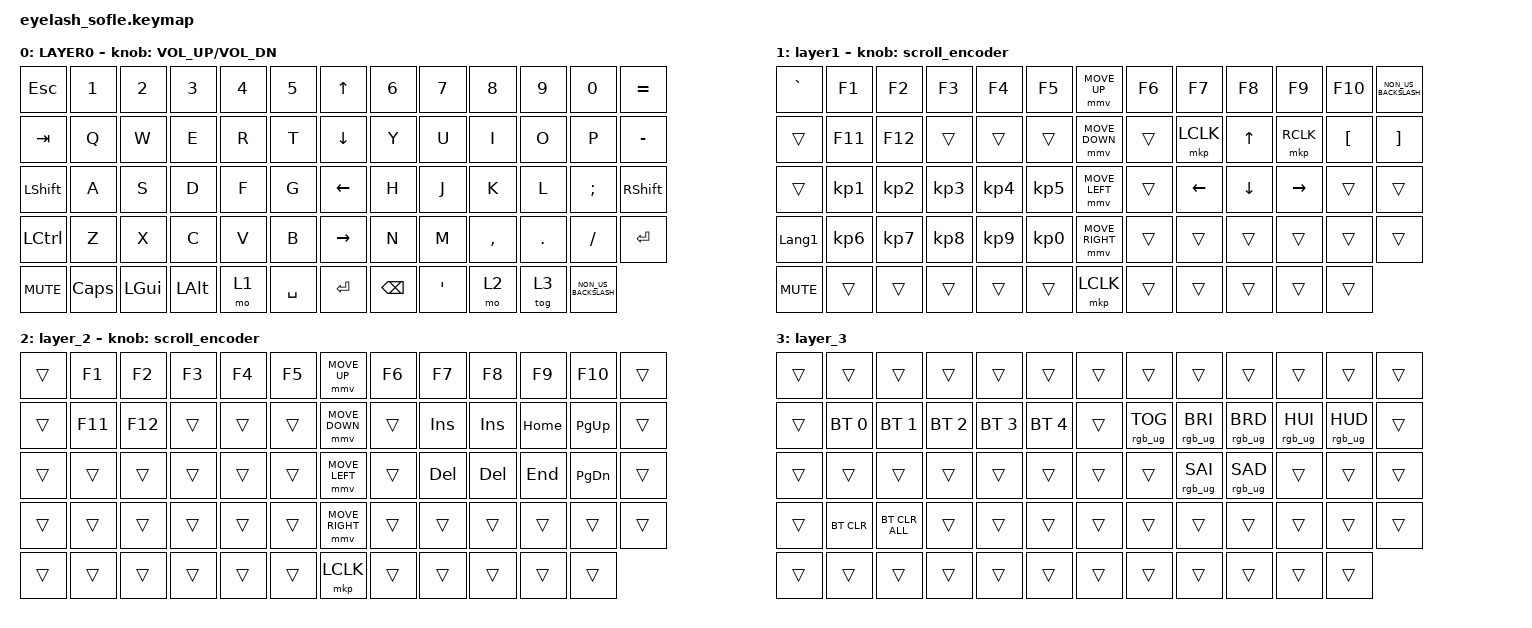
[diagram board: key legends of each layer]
#define ZMK_POINTING_DEFAULT_MOVE_VAL 1200  // 600
#define ZMK_POINTING_DEFAULT_SCRL_VAL 25   // 10

#include <input/processors.dtsi>
#include <zephyr/dt-bindings/input/input-event-codes.h>
#include <behaviors.dtsi>
#include <dt-bindings/zmk/bt.h>
#include <dt-bindings/zmk/keys.h>
#include <dt-bindings/zmk/pointing.h>
#include <dt-bindings/zmk/rgb.h>

&mmv_input_listener { input-processors = <&zip_xy_scaler 2 1>; };

&msc_input_listener { input-processors = <&zip_scroll_scaler 2 1>; };

&msc {
    acceleration-exponent = <1>;      // 0
    time-to-max-speed-ms = <100>;       // 300
    delay-ms = <0>;                   // 0
};

&mmv {
    time-to-max-speed-ms = <500>;
    acceleration-exponent = <1>;
    trigger-period-ms = <16>;
};

/ {
    scroll_encoder: scroll_encoder {
        compatible = "zmk,behavior-sensor-rotate";
        #sensor-binding-cells = <0>;
        bindings = <&msc SCRL_DOWN>, <&msc SCRL_UP>;

        tap-ms = <100>;
    };

    behaviors {
    };

    keymap {
        compatible = "zmk,keymap";

        layer0 {
            bindings = <
&kp ESC     &kp N1        &kp N2        &kp N3        &kp N4  &kp N5       &kp UP_ARROW     &kp N6         &kp N7   &kp N8     &kp N9   &kp N0                &kp EQUAL
&kp TAB     &kp Q         &kp W         &kp E         &kp R   &kp T        &kp DOWN_ARROW   &kp Y          &kp U    &kp I      &kp O    &kp P                 &kp MINUS
&kp LSHIFT  &kp A         &kp S         &kp D         &kp F   &kp G        &kp LEFT_ARROW   &kp H          &kp J    &kp K      &kp L    &kp SEMI              &kp RSHIFT
&kp LCTRL   &kp Z         &kp X         &kp C         &kp V   &kp B        &kp RIGHT_ARROW  &kp N          &kp M    &kp COMMA  &kp DOT  &kp FSLH              &kp ENTER
&kp C_MUTE  &kp CAPSLOCK  &kp LEFT_GUI  &kp LEFT_ALT  &mo 1   &kp SPACE    &kp ENTER        &kp BACKSPACE  &kp SQT  &mo 2      &tog 3   &kp NON_US_BACKSLASH
            >;

            sensor-bindings = <&inc_dec_kp C_VOLUME_UP C_VOL_DN>;
            display-name = "LAYER0";
        };

        layer_1 {
            bindings = <
&kp GRAVE       &kp F1           &kp F2           &kp F3           &kp F4           &kp F5             &mmv MOVE_UP     &kp F6  &kp F7     &kp F8    &kp F9     &kp F10   &kp NON_US_BACKSLASH
&trans          &kp F11          &kp F12          &trans           &trans           &trans             &mmv MOVE_DOWN   &trans  &mkp LCLK  &kp UP    &mkp RCLK  &kp LBKT  &kp RIGHT_BRACKET
&trans          &kp KP_NUMBER_1  &kp KP_NUMBER_2  &kp KP_NUMBER_3  &kp KP_NUMBER_4  &kp KP_NUMBER_5    &mmv MOVE_LEFT   &trans  &kp LEFT   &kp DOWN  &kp RIGHT  &trans    &trans
&kp LANGUAGE_1  &kp KP_NUMBER_6  &kp KP_NUMBER_7  &kp KP_NUMBER_8  &kp KP_NUMBER_9  &kp KP_NUMBER_0    &mmv MOVE_RIGHT  &trans  &trans     &trans    &trans     &trans    &trans
&kp C_MUTE      &trans           &trans           &trans           &trans           &trans             &mkp LCLK        &trans  &trans     &trans    &trans     &trans
            >;

            display-name = "layer1";
            sensor-bindings = <&scroll_encoder>;
        };

        layer_2 {
            bindings = <
&trans  &kp F1   &kp F2   &kp F3  &kp F4  &kp F5    &mmv MOVE_UP     &kp F6  &kp F7      &kp F8      &kp F9    &kp F10        &trans
&trans  &kp F11  &kp F12  &trans  &trans  &trans    &mmv MOVE_DOWN   &trans  &kp INSERT  &kp INS     &kp HOME  &kp PAGE_UP    &trans
&trans  &trans   &trans   &trans  &trans  &trans    &mmv MOVE_LEFT   &trans  &kp DELETE  &kp DELETE  &kp END   &kp PAGE_DOWN  &trans
&trans  &trans   &trans   &trans  &trans  &trans    &mmv MOVE_RIGHT  &trans  &trans      &trans      &trans    &trans         &trans
&trans  &trans   &trans   &trans  &trans  &trans    &mkp LCLK        &trans  &trans      &trans      &trans    &trans
            >;

            sensor-bindings = <&scroll_encoder>;
        };

        layer_3 {
            bindings = <
&trans  &trans        &trans          &trans        &trans        &trans          &trans  &trans           &trans           &trans           &trans           &trans           &trans
&trans  &bt BT_SEL 0  &bt BT_SEL 1    &bt BT_SEL 2  &bt BT_SEL 3  &bt BT_SEL 4    &trans  &rgb_ug RGB_TOG  &rgb_ug RGB_BRI  &rgb_ug RGB_BRD  &rgb_ug RGB_HUI  &rgb_ug RGB_HUD  &trans
&trans  &trans        &trans          &trans        &trans        &trans          &trans  &trans           &rgb_ug RGB_SAI  &rgb_ug RGB_SAD  &trans           &trans           &trans
&trans  &bt BT_CLR    &bt BT_CLR_ALL  &trans        &trans        &trans          &trans  &trans           &trans           &trans           &trans           &trans           &trans
&trans  &trans        &trans          &trans        &trans        &trans          &trans  &trans           &trans           &trans           &trans           &trans
            >;
        };
    };
};
